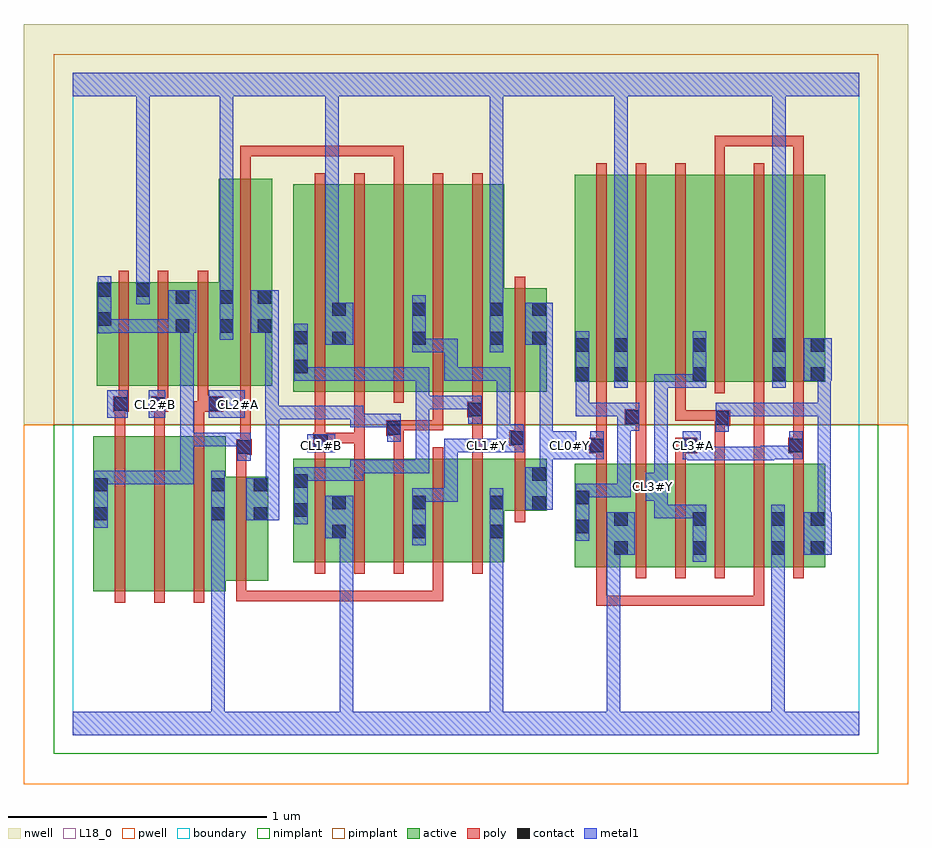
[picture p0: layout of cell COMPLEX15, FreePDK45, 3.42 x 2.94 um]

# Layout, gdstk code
import gdstk
lib = gdstk.Library(unit=1e-6, precision=1e-09)
def R(c, l, rs):  # rectangles x0, y0, x1, y1
    for r in rs: c.add(gdstk.rectangle(r[:2], r[2:], *l))
def A(c, l, x, y, w, h, nx, ny, dx, dy):  # array of equal rectangles
    R(c, l, [(x+i*dx, y+j*dy, x+i*dx+w, y+j*dy+h) for i in range(nx) for j in range(ny)])
active = (1, 0)
pwell = (2, 0)
nwell = (3, 0)
nimplant = (4, 0)
pimplant = (5, 0)
poly = (9, 0)
contact = (10, 0)
metal1 = (11, 0)
L18_0 = (18, 0)
boundary = (235, 0)

complex15 = lib.new_cell('COMPLEX15')
A(complex15, active, 2.088, 0.65, 0.06, 0.4, 3, 1, 0.304, 0)
R(complex15, active, [(0.08,0.556,0.26,1.156), (0.08,0.556,0.14,1.156), (0.26,0.556,0.412,1.156), (0.412,0.556,0.592,1.156), (0.532,0.556,0.592,0.998), (0.532,0.598,0.756,0.998), (1.94,0.65,2,1.05), (1.94,0.65,2.148,1.05), (2.088,0.65,2.272,1.05), (2.272,0.65,2.452,1.05), (2.392,0.65,2.576,1.05), (2.576,0.65,2.756,1.05), (2.696,0.65,2.908,1.05), (2.848,0.65,2.908,1.05), (0.852,0.668,0.912,1.068), (0.852,0.668,1.06,1.068), (1,0.668,1.184,1.068), (1,0.668,1.06,0.93), (1.184,0.668,1.368,1.068), (1.308,0.668,1.368,1.068), (1.308,0.668,1.488,1.068), (1.488,0.668,1.668,1.068), (1.608,0.668,1.668,1.068), (0.696,0.756,0.756,0.998), (1.608,0.868,1.832,1.068), (1.772,0.868,1.832,1.068), (0.852,1.328,1.06,2.128), (0.852,1.328,0.912,2.128), (1,1.328,1.184,2.128), (1.184,1.328,1.368,2.128), (1.308,1.328,1.488,2.128), (1.308,1.328,1.368,2.044), (1.488,1.328,1.668,2.128), (1.608,1.328,1.832,1.728), (1.772,1.328,1.832,1.728), (0.094,1.35,0.154,1.75), (0.094,1.35,0.302,1.75), (0.242,1.35,0.302,1.75), (0.242,1.35,0.454,1.75), (0.394,1.35,0.454,1.75), (0.394,1.35,0.624,1.75), (0.564,1.35,0.772,2.15), (0.712,1.35,0.772,2.044), (1.608,1.364,1.668,1.856), (1.94,1.366,2,2.044), (1.94,1.366,2.148,2.166), (2.088,1.366,2.148,2.044), (2.088,1.366,2.272,2.166), (2.272,1.366,2.452,2.166), (2.392,1.366,2.452,2.044), (2.392,1.366,2.576,2.166), (2.576,1.366,2.76,2.166), (2.7,1.366,2.76,2.044), (2.7,1.366,2.908,2.166), (2.848,1.366,2.908,2.044), (0.564,1.416,0.624,2.044), (1,1.42,1.06,2.044)])
R(complex15, pwell, [(-0.188,-0.188,3.228,1.2)])
R(complex15, nwell, [(-0.188,1.2,3.228,2.748)])
R(complex15, nimplant, [(-0.072,-0.072,3.112,1.2)])
R(complex15, pimplant, [(-0.072,1.2,3.112,2.632)])
A(complex15, poly, 2.024, 0.5, 0.04, 0.04, 3, 1, 0.106, 0)
A(complex15, poly, 0.164, 0.512, 0.04, 0.688, 3, 1, 0.152, 0)
A(complex15, poly, 2.024, 0.606, 0.04, 0.488, 6, 1, 0.152, 0)
A(complex15, poly, 0.936, 0.624, 0.04, 0.488, 5, 1, 0.152, 0)
A(complex15, poly, 0.164, 1.16, 0.04, 0.13, 3, 1, 0.152, 0)
A(complex15, poly, 0.936, 1.284, 0.04, 0.888, 5, 1, 0.152, 0)
A(complex15, poly, 2.024, 1.322, 0.04, 0.888, 6, 1, 0.152, 0)
R(complex15, poly, [(2.024,0.5,2.064,0.646), (2.024,0.5,2.064,0.54), (2.024,0.5,2.064,0.54), (2.024,0.5,2.17,0.54), (2.13,0.5,2.276,0.54), (2.236,0.5,2.276,0.54), (2.236,0.5,2.276,0.54), (2.236,0.5,2.474,0.54), (2.434,0.5,2.474,0.54), (2.434,0.5,2.474,0.54), (2.434,0.5,2.474,0.54), (2.434,0.5,2.672,0.54), (2.632,0.5,2.672,0.646), (2.632,0.5,2.672,0.54), (2.632,0.5,2.672,0.54), (2.632,0.5,2.672,0.54), (0.632,0.518,0.672,0.558), (0.632,0.518,0.672,0.594), (0.632,0.518,0.688,0.558), (0.648,0.518,0.688,0.558), (0.648,0.518,0.794,0.558), (0.754,0.518,0.794,0.558), (0.754,0.518,0.794,0.558), (0.754,0.518,0.794,0.558), (0.754,0.518,1.082,0.558), (1.042,0.518,1.082,0.558), (1.042,0.518,1.082,0.558), (1.042,0.518,1.082,0.558), (1.042,0.518,1.22,0.558), (1.18,0.518,1.22,0.558), (1.18,0.518,1.22,0.558), (1.18,0.518,1.22,0.558), (1.18,0.518,1.432,0.558), (1.392,0.518,1.432,0.664), (1.392,0.518,1.432,0.558), (1.392,0.518,1.432,0.558), (1.392,0.518,1.432,0.558), (0.632,0.554,0.672,1.042), (1.708,0.824,1.748,1.112), (0.632,1.002,0.672,1.124), (2.024,1.054,2.064,1.13), (2.176,1.054,2.216,1.24), (2.328,1.054,2.368,1.13), (2.48,1.054,2.52,1.236), (2.632,1.054,2.672,1.326), (2.784,1.054,2.824,1.13), (0.936,1.072,0.976,1.148), (1.088,1.072,1.128,1.168), (1.24,1.072,1.28,1.198), (1.544,1.072,1.584,1.268), (1.708,1.072,1.748,1.158), (0.632,1.084,0.692,1.144), (1.996,1.09,2.064,1.15), (2.328,1.09,2.414,1.15), (2.764,1.09,2.824,1.15), (0.648,1.104,0.688,1.144), (0.648,1.104,0.688,1.144), (0.648,1.104,0.688,1.346), (0.93,1.108,0.99,1.168), (2.024,1.11,2.064,1.15), (2.024,1.11,2.064,1.15), (2.024,1.11,2.064,1.362), (2.784,1.11,2.824,1.15), (2.784,1.11,2.824,1.15), (2.784,1.11,2.824,1.362), (1.688,1.118,1.748,1.178), (0.936,1.128,0.976,1.168), (0.936,1.128,0.976,1.168), (0.936,1.128,0.976,1.168), (0.936,1.128,0.976,1.168), (0.936,1.128,1.128,1.168), (0.936,1.128,0.976,1.324), (1.088,1.128,1.128,1.168), (1.088,1.128,1.128,1.168), (1.088,1.128,1.128,1.168), (1.088,1.128,1.128,1.324), (1.708,1.138,1.748,1.178), (1.708,1.138,1.748,1.178), (1.708,1.138,1.748,1.324), (1.212,1.158,1.28,1.218), (1.24,1.158,1.28,1.198), (1.24,1.158,1.28,1.198), (1.24,1.178,1.326,1.218), (1.286,1.178,1.326,1.218), (1.286,1.178,1.432,1.218), (1.392,1.178,1.432,1.324), (1.392,1.178,1.432,1.218), (2.48,1.196,2.52,1.236), (2.48,1.196,2.52,1.236), (2.48,1.196,2.54,1.256), (2.134,1.2,2.216,1.26), (2.176,1.2,2.216,1.24), (2.176,1.2,2.216,1.24), (2.328,1.216,2.368,1.362), (2.328,1.216,2.368,1.256), (2.328,1.216,2.52,1.256), (2.48,1.216,2.52,1.256), (2.48,1.216,2.52,1.256), (2.176,1.22,2.216,1.362), (1.524,1.228,1.584,1.288), (1.544,1.228,1.584,1.268), (1.544,1.228,1.584,1.268), (1.544,1.248,1.584,1.324), (0.158,1.25,0.218,1.31), (0.164,1.25,0.204,1.29), (0.164,1.25,0.204,1.29), (0.302,1.25,0.37,1.31), (0.316,1.25,0.356,1.29), (0.316,1.25,0.356,1.29), (0.468,1.25,0.524,1.29), (0.484,1.25,0.524,1.29), (0.484,1.25,0.582,1.31), (0.178,1.27,0.218,1.346), (0.33,1.27,0.37,1.346), (0.484,1.27,0.524,1.346), (1.708,1.284,1.748,1.772), (2.632,1.286,2.672,1.326), (2.632,1.286,2.672,1.326), (2.632,1.286,2.672,1.326), (2.632,1.286,2.672,1.362), (0.178,1.306,0.218,1.794), (0.33,1.306,0.37,1.794), (0.484,1.306,0.524,1.794), (0.648,1.306,0.688,2.194), (1.24,2.132,1.28,2.278), (0.648,2.154,0.688,2.278), (2.48,2.17,2.52,2.316), (2.784,2.17,2.824,2.316), (0.648,2.238,0.688,2.278), (0.648,2.238,0.688,2.278), (0.648,2.238,0.688,2.278), (0.648,2.238,0.87,2.278), (0.83,2.238,0.87,2.278), (0.83,2.238,0.87,2.278), (0.83,2.238,0.87,2.278), (0.83,2.238,1.082,2.278), (1.042,2.238,1.082,2.278), (1.042,2.238,1.082,2.278), (1.042,2.238,1.082,2.278), (1.042,2.238,1.188,2.278), (1.148,2.238,1.188,2.278), (1.148,2.238,1.28,2.278), (1.24,2.238,1.28,2.278), (2.48,2.276,2.52,2.316), (2.48,2.276,2.698,2.316), (2.658,2.276,2.698,2.316), (2.658,2.276,2.698,2.316), (2.658,2.276,2.698,2.316), (2.658,2.276,2.824,2.316), (2.784,2.276,2.824,2.316), (2.784,2.276,2.824,2.316), (2.784,2.276,2.824,2.316)])
A(complex15, contact, 2.092, 0.698, 0.052, 0.052, 3, 2, 0.304, 0.112)
R(complex15, contact, [(2.852,0.698,2.904,0.75), (1.004,0.762,1.056,0.814), (1.312,0.762,1.364,0.814), (1.612,0.762,1.664,0.814), (1.944,0.78,1.996,0.832), (2.852,0.81,2.904,0.862), (0.084,0.83,0.136,0.882), (0.536,0.83,0.588,0.882), (0.7,0.83,0.752,0.882), (0.856,0.844,0.908,0.896), (1.776,0.872,1.828,0.924), (1.004,0.874,1.056,0.926), (1.312,0.874,1.364,0.926), (1.612,0.874,1.664,0.926), (1.944,0.892,1.996,0.944), (0.084,0.942,0.136,0.994), (0.536,0.942,0.588,0.994), (0.7,0.942,0.752,0.994), (0.856,0.956,0.908,1.008), (1.776,0.984,1.828,1.036), (0.636,1.088,0.688,1.14), (2,1.094,2.052,1.146), (2.358,1.094,2.41,1.146), (2.768,1.094,2.82,1.146), (0.934,1.112,0.986,1.164), (1.692,1.122,1.744,1.174), (1.216,1.162,1.268,1.214), (2.484,1.2,2.536,1.252), (2.138,1.204,2.19,1.256), (1.528,1.232,1.58,1.284), (0.162,1.254,0.214,1.306), (0.306,1.254,0.358,1.306), (0.526,1.254,0.578,1.306), (1.944,1.37,1.996,1.422), (2.092,1.37,2.144,1.422), (2.396,1.37,2.448,1.422), (2.704,1.37,2.756,1.422), (2.852,1.37,2.904,1.422), (0.856,1.398,0.908,1.45), (1.944,1.482,1.996,1.534), (2.092,1.482,2.144,1.534), (2.396,1.482,2.448,1.534), (2.704,1.482,2.756,1.534), (2.852,1.482,2.904,1.534), (1.004,1.508,1.056,1.56), (1.312,1.508,1.364,1.56), (1.612,1.508,1.664,1.56), (1.776,1.508,1.828,1.56), (0.856,1.51,0.908,1.562), (0.398,1.556,0.45,1.608), (0.568,1.556,0.62,1.608), (0.716,1.556,0.768,1.608), (0.098,1.582,0.15,1.634), (1.004,1.62,1.056,1.672), (1.312,1.62,1.364,1.672), (1.612,1.62,1.664,1.672), (1.776,1.62,1.828,1.672), (0.398,1.668,0.45,1.72), (0.568,1.668,0.62,1.72), (0.716,1.668,0.768,1.72), (0.098,1.694,0.15,1.746), (0.246,1.694,0.298,1.746)])
A(complex15, metal1, 1.326, 1.26, 0.052, 0.052, 1, 3, 0, 0.11)
R(complex15, metal1, [(0,0,3.04,0.092), (0.536,0.04,0.588,0.092), (0.536,0.04,0.588,0.092), (0.536,0.04,0.588,0.092), (0.536,0.04,0.588,0.092), (0.536,0.04,0.588,0.854), (1.032,0.04,1.084,0.092), (1.032,0.04,1.084,0.092), (1.032,0.04,1.084,0.092), (1.032,0.04,1.084,0.092), (1.032,0.04,1.084,0.092), (1.032,0.04,1.084,0.092), (1.032,0.04,1.084,0.814), (1.612,0.04,1.664,0.092), (1.612,0.04,1.664,0.092), (1.612,0.04,1.664,0.092), (1.612,0.04,1.664,0.092), (1.612,0.04,1.664,0.092), (1.612,0.04,1.664,0.092), (1.612,0.04,1.664,0.786), (2.064,0.04,2.116,0.092), (2.064,0.04,2.116,0.092), (2.064,0.04,2.116,0.75), (2.7,0.04,2.752,0.092), (2.7,0.04,2.752,0.092), (2.7,0.04,2.752,0.092), (2.7,0.04,2.752,0.092), (2.7,0.04,2.752,0.722), (2.396,0.67,2.448,0.89), (2.7,0.67,2.752,0.722), (2.7,0.67,2.752,0.722), (2.7,0.67,2.752,0.722), (2.7,0.67,2.752,0.722), (2.7,0.67,2.752,0.722), (2.7,0.67,2.752,0.722), (2.7,0.67,2.752,0.722), (2.7,0.67,2.752,0.722), (2.7,0.67,2.752,0.89), (2.064,0.698,2.172,0.862), (2.064,0.698,2.116,0.75), (2.064,0.698,2.116,0.75), (2.064,0.698,2.116,0.75), (2.064,0.698,2.116,0.75), (2.064,0.698,2.116,0.75), (2.064,0.698,2.116,0.75), (2.064,0.698,2.116,0.75), (2.064,0.698,2.116,0.75), (2.064,0.698,2.116,0.75), (2.064,0.698,2.116,0.75), (2.824,0.698,2.932,0.862), (1.312,0.734,1.364,0.954), (1.612,0.734,1.664,0.786), (1.612,0.734,1.664,0.786), (1.612,0.734,1.664,0.786), (1.612,0.734,1.664,0.786), (1.612,0.734,1.664,0.786), (1.612,0.734,1.664,0.786), (1.612,0.734,1.664,0.954), (1.944,0.752,1.996,0.972), (0.976,0.762,1.084,0.926), (1.032,0.762,1.084,0.814), (1.032,0.762,1.084,0.814), (1.032,0.762,1.084,0.814), (1.032,0.762,1.084,0.814), (1.032,0.762,1.084,0.814), (1.032,0.762,1.084,0.814), (0.084,0.802,0.136,1.022), (0.536,0.802,0.588,0.854), (0.536,0.802,0.588,0.854), (0.536,0.802,0.588,0.854), (0.536,0.802,0.588,0.854), (0.536,0.802,0.588,1.022), (2.878,0.81,2.93,1.284), (0.856,0.816,0.908,1.036), (0.672,0.83,0.798,0.994), (2.248,0.838,2.3,0.89), (2.248,0.838,2.3,0.89), (2.248,0.838,2.3,0.89), (2.248,0.838,2.448,0.89), (2.248,0.838,2.3,0.958), (1.748,0.872,1.856,1.036), (1.312,0.902,1.378,0.954), (1.326,0.902,1.378,0.954), (1.326,0.902,1.488,0.954), (1.436,0.902,1.488,0.954), (1.436,0.902,1.488,1.146), (2.214,0.906,2.3,1.014), (1.944,0.92,2.056,0.972), (2.004,0.92,2.056,0.972), (2.004,0.92,2.156,0.972), (2.104,0.92,2.156,0.972), (2.104,0.92,2.156,1.284), (0.746,0.942,0.798,0.994), (0.746,0.942,0.798,0.994), (0.746,0.942,0.798,1.274), (2.248,0.962,2.3,1.014), (2.248,0.962,2.3,1.014), (2.248,0.962,2.3,1.394), (0.084,0.97,0.136,1.022), (0.084,0.97,0.136,1.022), (0.084,0.97,0.312,1.022), (0.26,0.97,0.312,1.022), (0.26,0.97,0.312,1.022), (0.26,0.97,0.312,1.022), (0.26,0.97,0.468,1.022), (0.416,0.97,0.468,1.022), (0.416,0.97,0.468,1.168), (0.856,0.984,0.908,1.036), (0.856,0.984,0.908,1.036), (0.856,0.984,1.124,1.036), (1.072,0.984,1.124,1.036), (1.072,0.984,1.124,1.064), (1.804,0.984,1.856,1.118), (1.072,1.012,1.124,1.064), (1.072,1.012,1.124,1.064), (1.072,1.012,1.124,1.064), (1.072,1.012,1.234,1.064), (1.182,1.012,1.234,1.064), (1.182,1.012,1.234,1.064), (1.182,1.012,1.234,1.064), (1.182,1.012,1.378,1.064), (1.326,1.012,1.378,1.064), (1.326,1.012,1.378,1.312), (0.636,1.06,0.688,1.168), (2.374,1.062,2.6,1.114), (2.374,1.062,2.426,1.118), (2.548,1.062,2.6,1.114), (2.548,1.062,2.6,1.114), (2.548,1.062,2.6,1.114), (2.548,1.062,2.71,1.114), (2.658,1.062,2.71,1.118), (1.804,1.066,1.946,1.174), (1.894,1.066,1.946,1.118), (1.894,1.066,1.946,1.118), (1.894,1.066,2.052,1.118), (2,1.066,2.052,1.174), (2.358,1.066,2.426,1.174), (2.374,1.066,2.426,1.118), (2.658,1.066,2.71,1.118), (2.658,1.066,2.71,1.118), (2.658,1.066,2.82,1.118), (2.768,1.066,2.82,1.174), (0.906,1.094,1.014,1.164), (1.436,1.094,1.488,1.146), (1.436,1.094,1.598,1.146), (1.546,1.094,1.598,1.146), (1.546,1.094,1.598,1.146), (1.546,1.094,1.69,1.146), (1.638,1.094,1.744,1.146), (1.638,1.094,1.69,1.422), (1.692,1.094,1.744,1.202), (0.416,1.116,0.468,1.168), (0.416,1.116,0.468,1.168), (0.416,1.116,0.468,1.168), (0.416,1.116,0.578,1.168), (0.416,1.116,0.468,1.608), (0.526,1.116,0.578,1.168), (0.526,1.116,0.578,1.168), (0.526,1.116,0.578,1.168), (0.526,1.116,0.688,1.168), (1.804,1.122,1.856,1.56), (1.216,1.134,1.268,1.242), (2.484,1.172,2.536,1.28), (2.138,1.176,2.19,1.284), (1.072,1.19,1.234,1.242), (1.072,1.19,1.124,1.274), (1.182,1.19,1.234,1.242), (1.182,1.19,1.268,1.242), (1.528,1.204,1.58,1.312), (0.744,1.222,0.796,1.608), (0.744,1.222,0.798,1.274), (0.746,1.222,0.798,1.274), (0.746,1.222,0.798,1.274), (0.746,1.222,0.908,1.274), (0.856,1.222,0.908,1.274), (0.856,1.222,1.124,1.274), (1.072,1.222,1.124,1.274), (1.072,1.222,1.124,1.274), (0.134,1.226,0.214,1.334), (0.294,1.226,0.358,1.334), (0.526,1.226,0.666,1.334), (2.484,1.228,2.536,1.28), (2.484,1.228,2.536,1.284), (1.944,1.232,1.996,1.284), (1.944,1.232,2.058,1.284), (1.944,1.232,1.996,1.394), (2.006,1.232,2.058,1.284), (2.006,1.232,2.156,1.284), (2.104,1.232,2.156,1.284), (2.104,1.232,2.156,1.284), (2.104,1.232,2.156,1.284), (2.104,1.232,2.19,1.284), (2.484,1.232,2.71,1.284), (2.658,1.232,2.71,1.284), (2.658,1.232,2.71,1.284), (2.658,1.232,2.71,1.284), (2.658,1.232,2.93,1.284), (2.878,1.232,2.93,1.422), (2.878,1.232,2.93,1.284), (2.878,1.232,2.93,1.284), (2.878,1.232,2.93,1.284), (2.878,1.232,2.93,1.284), (2.878,1.232,2.93,1.284), (1.326,1.26,1.378,1.312), (1.326,1.26,1.378,1.312), (1.326,1.26,1.488,1.312), (1.326,1.26,1.378,1.422), (1.436,1.26,1.488,1.312), (1.436,1.26,1.58,1.312), (1.944,1.342,1.996,1.562), (2.092,1.342,2.144,1.562), (2.248,1.342,2.3,1.394), (2.248,1.342,2.3,1.394), (2.248,1.342,2.3,1.394), (2.248,1.342,2.448,1.394), (2.396,1.342,2.448,1.562), (2.704,1.342,2.756,1.562), (0.856,1.37,0.908,1.422), (0.856,1.37,0.908,1.422), (0.856,1.37,0.908,1.59), (0.856,1.37,1.124,1.422), (1.072,1.37,1.124,1.422), (1.072,1.37,1.124,1.422), (1.072,1.37,1.124,1.422), (1.072,1.37,1.254,1.422), (1.202,1.37,1.254,1.422), (1.202,1.37,1.254,1.422), (1.202,1.37,1.254,1.422), (1.202,1.37,1.378,1.422), (1.436,1.37,1.488,1.422), (1.436,1.37,1.488,1.422), (1.436,1.37,1.488,1.422), (1.436,1.37,1.488,1.532), (1.436,1.37,1.69,1.422), (1.638,1.37,1.69,1.422), (1.638,1.37,1.69,1.422), (1.638,1.37,1.69,1.422), (2.824,1.37,2.932,1.534), (1.312,1.48,1.364,1.7), (1.312,1.48,1.378,1.532), (1.326,1.48,1.488,1.532), (1.436,1.48,1.488,1.532), (1.612,1.48,1.664,1.7), (0.976,1.508,1.084,1.672), (1.748,1.508,1.856,1.672), (1.804,1.508,1.856,1.56), (1.804,1.508,1.856,1.56), (2.092,1.51,2.144,1.562), (2.092,1.51,2.144,1.562), (2.092,1.51,2.144,2.52), (2.704,1.51,2.756,1.562), (2.704,1.51,2.756,1.562), (2.704,1.51,2.756,1.562), (2.704,1.51,2.756,1.562), (2.704,1.51,2.756,2.52), (0.568,1.528,0.62,1.748), (0.098,1.554,0.15,1.774), (0.098,1.556,0.15,1.608), (0.098,1.556,0.15,1.608), (0.098,1.556,0.312,1.608), (0.26,1.556,0.312,1.608), (0.26,1.556,0.422,1.608), (0.37,1.556,0.478,1.72), (0.37,1.556,0.422,1.608), (0.37,1.556,0.422,1.608), (0.688,1.556,0.796,1.72), (0.976,1.62,1.028,2.52), (1.612,1.648,1.664,2.52), (0.246,1.666,0.298,1.774), (0.568,1.696,0.62,2.52), (0.246,1.722,0.298,1.774), (0.246,1.722,0.298,1.774), (0.246,1.722,0.298,1.774), (0.246,1.722,0.298,1.774), (0.246,1.722,0.298,1.774), (0.246,1.722,0.298,1.774), (0.246,1.722,0.298,1.774), (0.246,1.722,0.298,1.774), (0.246,1.722,0.298,2.52), (0,2.468,3.04,2.56), (0.246,2.468,0.298,2.52), (0.246,2.468,0.298,2.52), (0.246,2.468,0.298,2.52), (0.246,2.468,0.298,2.52), (0.246,2.468,0.298,2.52), (0.246,2.468,0.298,2.52), (0.246,2.468,0.298,2.52), (0.246,2.468,0.298,2.52), (0.568,2.468,0.62,2.52), (0.568,2.468,0.62,2.52), (0.568,2.468,0.62,2.52), (0.568,2.468,0.62,2.52), (0.568,2.468,0.62,2.52), (0.568,2.468,0.62,2.52), (0.568,2.468,0.62,2.52), (0.568,2.468,0.62,2.52), (0.976,2.468,1.028,2.52), (0.976,2.468,1.028,2.52), (0.976,2.468,1.028,2.52), (0.976,2.468,1.028,2.52), (0.976,2.468,1.028,2.52), (0.976,2.468,1.028,2.52), (0.976,2.468,1.028,2.52), (0.976,2.468,1.028,2.52), (1.612,2.468,1.664,2.52), (1.612,2.468,1.664,2.52), (1.612,2.468,1.664,2.52), (1.612,2.468,1.664,2.52), (1.612,2.468,1.664,2.52), (1.612,2.468,1.664,2.52), (1.612,2.468,1.664,2.52), (1.612,2.468,1.664,2.52), (2.092,2.468,2.144,2.52), (2.092,2.468,2.144,2.52), (2.092,2.468,2.144,2.52), (2.092,2.468,2.144,2.52), (2.092,2.468,2.144,2.52), (2.092,2.468,2.144,2.52), (2.704,2.468,2.756,2.52), (2.704,2.468,2.756,2.52), (2.704,2.468,2.756,2.52), (2.704,2.468,2.756,2.52)])
R(complex15, L18_0, [(0,0,3.04,0.092), (0.536,0.04,0.588,0.092), (0.536,0.04,0.588,0.092), (0.536,0.04,0.588,0.092), (0.536,0.04,0.588,0.092), (0.536,0.04,0.588,0.854), (1.032,0.04,1.084,0.092), (1.032,0.04,1.084,0.092), (1.032,0.04,1.084,0.092), (1.032,0.04,1.084,0.092), (1.032,0.04,1.084,0.092), (1.032,0.04,1.084,0.092), (1.032,0.04,1.084,0.814), (1.612,0.04,1.664,0.092), (1.612,0.04,1.664,0.092), (1.612,0.04,1.664,0.092), (1.612,0.04,1.664,0.092), (1.612,0.04,1.664,0.092), (1.612,0.04,1.664,0.092), (1.612,0.04,1.664,0.786), (2.064,0.04,2.116,0.092), (2.064,0.04,2.116,0.092), (2.064,0.04,2.116,0.75), (2.7,0.04,2.752,0.092), (2.7,0.04,2.752,0.092), (2.7,0.04,2.752,0.092), (2.7,0.04,2.752,0.092), (2.7,0.04,2.752,0.722), (2.396,0.67,2.448,0.89), (2.7,0.67,2.752,0.722), (2.7,0.67,2.752,0.722), (2.7,0.67,2.752,0.722), (2.7,0.67,2.752,0.722), (2.7,0.67,2.752,0.722), (2.7,0.67,2.752,0.722), (2.7,0.67,2.752,0.722), (2.7,0.67,2.752,0.722), (2.7,0.67,2.752,0.89), (2.064,0.698,2.116,0.75), (2.064,0.698,2.116,0.75), (2.064,0.698,2.116,0.75), (2.064,0.698,2.116,0.75), (2.064,0.698,2.116,0.75), (2.064,0.698,2.116,0.75), (2.064,0.698,2.116,0.75), (2.064,0.698,2.116,0.75), (2.064,0.698,2.116,0.75), (2.064,0.698,2.116,0.75), (2.064,0.698,2.172,0.862), (1.312,0.734,1.364,0.954), (1.612,0.734,1.664,0.786), (1.612,0.734,1.664,0.786), (1.612,0.734,1.664,0.786), (1.612,0.734,1.664,0.786), (1.612,0.734,1.664,0.786), (1.612,0.734,1.664,0.786), (1.612,0.734,1.664,0.954), (0.976,0.762,1.084,0.926), (1.032,0.762,1.084,0.814), (1.032,0.762,1.084,0.814), (1.032,0.762,1.084,0.814), (1.032,0.762,1.084,0.814), (1.032,0.762,1.084,0.814), (1.032,0.762,1.084,0.814), (0.536,0.802,0.588,0.854), (0.536,0.802,0.588,0.854), (0.536,0.802,0.588,0.854), (0.536,0.802,0.588,0.854), (0.536,0.802,0.588,1.022), (2.248,0.838,2.3,0.89), (2.248,0.838,2.3,0.89), (2.248,0.838,2.3,0.89), (2.248,0.838,2.3,0.958), (2.248,0.838,2.448,0.89), (1.748,0.872,1.856,1.036), (1.312,0.902,1.378,0.954), (1.326,0.902,1.378,0.954), (1.326,0.902,1.488,0.954), (1.436,0.902,1.488,0.954), (1.436,0.902,1.488,1.146), (2.214,0.906,2.3,1.014), (2.214,0.934,2.266,0.986), (2.248,0.962,2.3,1.014), (2.248,0.962,2.3,1.014), (2.248,0.962,2.3,1.394), (1.804,0.984,1.856,1.118), (2.374,1.062,2.426,1.118), (2.374,1.062,2.6,1.114), (2.548,1.062,2.6,1.114), (2.548,1.062,2.6,1.114), (2.548,1.062,2.6,1.114), (2.548,1.062,2.71,1.114), (2.658,1.062,2.71,1.118), (1.804,1.066,1.946,1.174), (1.894,1.066,1.946,1.118), (1.894,1.066,1.946,1.118), (1.894,1.066,2.052,1.118), (2,1.066,2.052,1.174), (2.358,1.066,2.426,1.174), (2.374,1.066,2.426,1.118), (2.658,1.066,2.71,1.118), (2.658,1.066,2.71,1.118), (2.658,1.066,2.82,1.118), (2.768,1.066,2.82,1.174), (0.906,1.094,1.014,1.164), (0.934,1.094,0.986,1.146), (1.436,1.094,1.488,1.146), (1.436,1.094,1.598,1.146), (1.546,1.094,1.598,1.146), (1.546,1.094,1.598,1.146), (1.546,1.094,1.69,1.146), (1.574,1.094,1.626,1.146), (1.638,1.094,1.69,1.422), (1.638,1.094,1.744,1.146), (1.692,1.094,1.744,1.202), (1.894,1.094,1.946,1.146), (2.374,1.094,2.426,1.146), (1.804,1.122,1.856,1.56), (0.134,1.226,0.214,1.334), (0.294,1.226,0.358,1.334), (0.526,1.226,0.666,1.334), (0.134,1.254,0.186,1.306), (0.294,1.254,0.346,1.306), (0.614,1.254,0.666,1.306), (2.092,1.342,2.144,1.562), (2.248,1.342,2.3,1.394), (2.248,1.342,2.3,1.394), (2.248,1.342,2.3,1.394), (2.248,1.342,2.448,1.394), (2.396,1.342,2.448,1.562), (2.704,1.342,2.756,1.562), (1.436,1.37,1.488,1.422), (1.436,1.37,1.488,1.422), (1.436,1.37,1.488,1.422), (1.436,1.37,1.488,1.532), (1.436,1.37,1.69,1.422), (1.638,1.37,1.69,1.422), (1.638,1.37,1.69,1.422), (1.638,1.37,1.69,1.422), (1.312,1.48,1.364,1.7), (1.312,1.48,1.378,1.532), (1.326,1.48,1.378,1.532), (1.326,1.48,1.488,1.532), (1.436,1.48,1.488,1.532), (1.612,1.48,1.664,1.7), (0.976,1.508,1.084,1.672), (1.748,1.508,1.856,1.672), (1.804,1.508,1.856,1.56), (1.804,1.508,1.856,1.56), (2.092,1.51,2.144,1.562), (2.092,1.51,2.144,1.562), (2.092,1.51,2.144,2.52), (2.704,1.51,2.756,1.562), (2.704,1.51,2.756,1.562), (2.704,1.51,2.756,1.562), (2.704,1.51,2.756,1.562), (2.704,1.51,2.756,2.52), (0.568,1.528,0.62,1.748), (0.976,1.62,1.028,2.52), (1.612,1.648,1.664,2.52), (0.246,1.666,0.298,1.774), (0.568,1.696,0.62,2.52), (0.246,1.722,0.298,1.774), (0.246,1.722,0.298,1.774), (0.246,1.722,0.298,1.774), (0.246,1.722,0.298,1.774), (0.246,1.722,0.298,1.774), (0.246,1.722,0.298,1.774), (0.246,1.722,0.298,1.774), (0.246,1.722,0.298,1.774), (0.246,1.722,0.298,2.52), (0,2.468,3.04,2.56), (0.246,2.468,0.298,2.52), (0.246,2.468,0.298,2.52), (0.246,2.468,0.298,2.52), (0.246,2.468,0.298,2.52), (0.246,2.468,0.298,2.52), (0.246,2.468,0.298,2.52), (0.246,2.468,0.298,2.52), (0.246,2.468,0.298,2.52), (0.568,2.468,0.62,2.52), (0.568,2.468,0.62,2.52), (0.568,2.468,0.62,2.52), (0.568,2.468,0.62,2.52), (0.568,2.468,0.62,2.52), (0.568,2.468,0.62,2.52), (0.568,2.468,0.62,2.52), (0.568,2.468,0.62,2.52), (0.976,2.468,1.028,2.52), (0.976,2.468,1.028,2.52), (0.976,2.468,1.028,2.52), (0.976,2.468,1.028,2.52), (0.976,2.468,1.028,2.52), (0.976,2.468,1.028,2.52), (0.976,2.468,1.028,2.52), (0.976,2.468,1.028,2.52), (1.612,2.468,1.664,2.52), (1.612,2.468,1.664,2.52), (1.612,2.468,1.664,2.52), (1.612,2.468,1.664,2.52), (1.612,2.468,1.664,2.52), (1.612,2.468,1.664,2.52), (1.612,2.468,1.664,2.52), (1.612,2.468,1.664,2.52), (2.092,2.468,2.144,2.52), (2.092,2.468,2.144,2.52), (2.092,2.468,2.144,2.52), (2.092,2.468,2.144,2.52), (2.092,2.468,2.144,2.52), (2.092,2.468,2.144,2.52), (2.704,2.468,2.756,2.52), (2.704,2.468,2.756,2.52), (2.704,2.468,2.756,2.52), (2.704,2.468,2.756,2.52)])
R(complex15, boundary, [(0,0,3.04,2.56)])
complex15.add(gdstk.Label('CL0#Y', (1.92,1.12), layer=11, texttype=0))
complex15.add(gdstk.Label('CL1#B', (0.96,1.12), layer=11, texttype=0))
complex15.add(gdstk.Label('CL1#Y', (1.6,1.12), layer=11, texttype=0))
complex15.add(gdstk.Label('CL2#A', (0.64,1.28), layer=11, texttype=0))
complex15.add(gdstk.Label('CL2#B', (0.32,1.28), layer=11, texttype=0))
complex15.add(gdstk.Label('CL2#C', (0.16,1.28), layer=11, texttype=0))
complex15.add(gdstk.Label('CL3#A', (2.4,1.12), layer=11, texttype=0))
complex15.add(gdstk.Label('CL3#Y', (2.24,0.96), layer=11, texttype=0))

lib.write_gds('COMPLEX15.gds')
